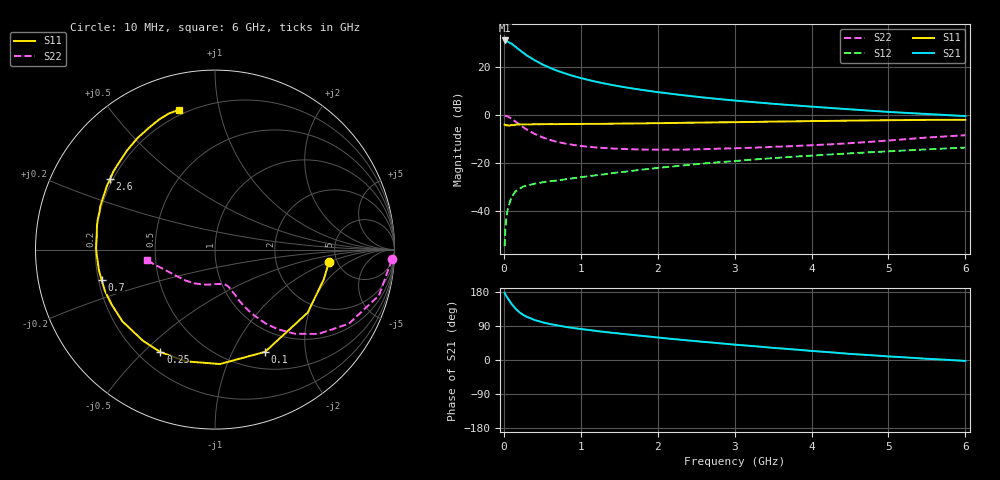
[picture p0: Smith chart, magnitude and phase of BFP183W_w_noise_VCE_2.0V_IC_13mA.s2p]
! Infineon Technologies  Discrete & RF Semiconductors
! BFP183W
! VCE =  2.0 V,  IC =  13 mA
! Common Emitter S-Parameters:  Jan 2017
# GHz  S  MA  R  50
!  f  S11  S21  S12  S22
! GHz  MAG  ANG  MAG  ANG  MAG  ANG  MAG  ANG
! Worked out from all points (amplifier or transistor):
!   77 points, 10 MHz to 6 GHz, reference 50 ohm
!   highest |S21| = 31.1 dB at 10 MHz (marker M1)
!   |S21| within 3 dB of that: start of sweep to 166.9 MHz
!   unconditionally stable (mu >= 1): 1.346 GHz to 3.974 GHz
!   at 130 MHz: K = 0.18, MSG = 30.8 dB, |S12| = -32.7 dB
!   at 2.2 GHz: K = 1.08, MAG = 13.3 dB, |S12| = -21.3 dB
!   at 6 GHz: K = 0.89, MSG = 6.5 dB, |S12| = -13.4 dB
!   lowest NFmin = 1.01 dB at 450 MHz
!   S11 on the Smith chart (normalised r, x): 10 MHz: 4.27, -1.02; 100 MHz: 0.71, -1.35; 250 MHz: 0.29, -0.56; 700 MHz: 0.21, -0.12; 2.6 GHz: 0.19, +0.29; 6 GHz: 0.17, +0.76
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0.01  0.6382 -6.4  35.86 177.4  0.0019 86.9  0.9876 -3.2
0.02  0.6284 -15.4  35.62 173.0  0.0044 88.3  0.9725 -6.4
0.05  0.6244 -34.2  34.17 162.9  0.0108 75.5  0.9488 -15.6
0.1  0.6344 -63.9  30.69 147.8  0.0195 64.9  0.8525 -29.0
0.15  0.6382 -87.5  26.7 135.8  0.026 54.8  0.7436 -39.2
0.2  0.6436 -104.6  23.01 126.4  0.0294 48.9  0.6466 -46.5
0.25  0.647 -118.0  19.98 119.2  0.0329 44.9  0.5656 -51.7
0.3  0.6474 -128.2  17.46 113.7  0.0346 42.4  0.5007 -55.5
0.4  0.6527 -142.2  13.89 105.4  0.0378 39.5  0.409 -60.3
0.5  0.6522 -152.1  11.41 99.6  0.0403 38.7  0.3487 -63.1
0.6  0.6551 -159.4  9.673 94.9  0.0426 39.6  0.3074 -65.0
0.7  0.6542 -165.1  8.351 91.1  0.044 41.2  0.2774 -66.0
0.9  0.6569 -174.1  6.556 84.5  0.049 43.1  0.2422 -68.2
1.1  0.6627 179.3  5.416 79.3  0.054 46.0  0.222 -69.9
1.3  0.6628 173.4  4.591 74.3  0.0591 47.4  0.209 -72.2
1.5  0.6711 168.5  3.997 69.9  0.0654 49.0  0.2004 -75.2
2.1  0.6873 155.3  2.893 57.4  0.0833 51.1  0.1923 -87.1
2.6  0.7041 146.2  2.336 47.8  0.0994 51.2  0.1976 -99.6
3.1  0.7215 137.9  1.961 39.0  0.1151 50.1  0.2082 -112.0
4.1  0.7593 123.4  1.472 22.5  0.1483 46.3  0.2423 -136.7
5.1  0.7907 112.4  1.15 8.3  0.1815 41.1  0.3073 -159.4
6  0.8044 104.4  0.96 -2.4  0.2129 35.8  0.3842 -171.3
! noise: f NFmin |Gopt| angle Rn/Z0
0.45  1.01  0.12  144  0.1
0.9  1.04  0.19  155  0.09
1.9  1.52  0.38  -172  0.08
2.4  1.75  0.44  -164  0.1
